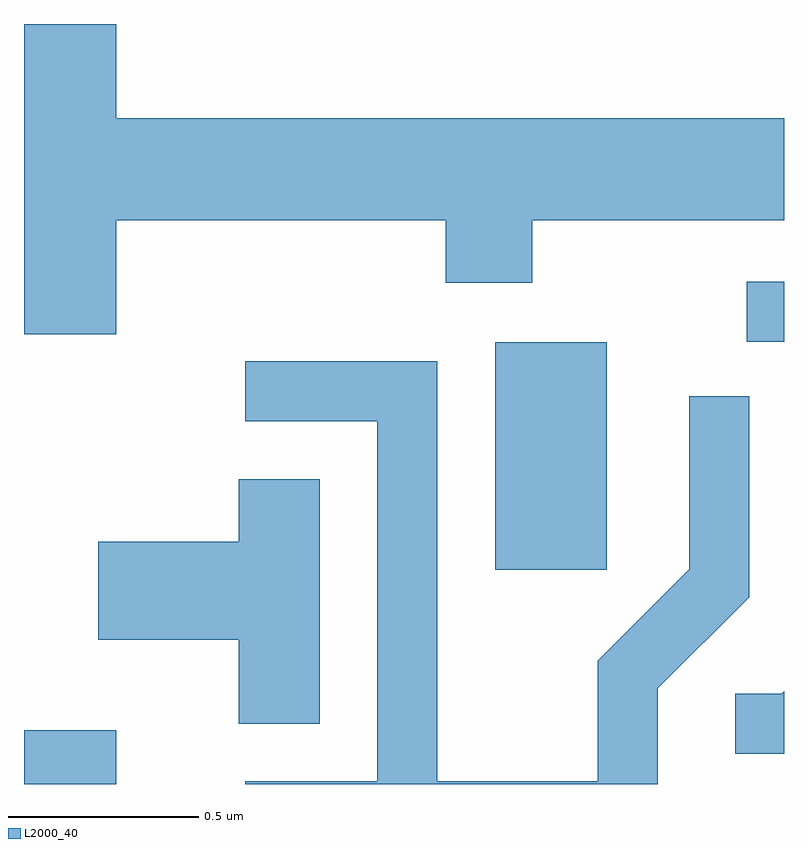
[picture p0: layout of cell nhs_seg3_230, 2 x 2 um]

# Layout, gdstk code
import gdstk
lib = gdstk.Library(unit=1e-6, precision=1e-09)
def R(c, l, rs):  # rectangles x0, y0, x1, y1
    for r in rs: c.add(gdstk.rectangle(r[:2], r[2:], *l))
def P(c, l, *ps):  # polygons
    for p in ps: c.add(gdstk.Polygon(p, *l))
L2000_40 = (2000, 40)

nhs_seg3_230 = lib.new_cell('nhs_seg3_230')
R(nhs_seg3_230, L2000_40, [(186.611,1208.892,186.854,1209.034), (187.851,1209.456,188.144,1210.054), (188.513,1210.056,188.611,1210.214)])
P(nhs_seg3_230, L2000_40, [(186.854,1210.376),(187.721,1210.376),(187.721,1210.211),(187.949,1210.211),(187.949,1210.376),(188.611,1210.376),(188.611,1210.644),(186.854,1210.644),(186.854,1210.892),(186.611,1210.892),(186.611,1210.076),(186.854,1210.076)],
  [(188.279,1209.144),(188.519,1209.384),(188.519,1209.913),(188.361,1209.913),(188.361,1209.457),(188.121,1209.217),(188.121,1208.899),(187.699,1208.899),(187.699,1210.004),(187.193,1210.004),(187.193,1209.846),(187.541,1209.846),(187.541,1208.899),(187.193,1208.899),(187.193,1208.892),(188.279,1208.892)],
  [(187.389,1209.694),(187.176,1209.694),(187.176,1209.529),(186.806,1209.529),(186.806,1209.271),(187.176,1209.271),(187.176,1209.051),(187.389,1209.051)],
  [(188.611,1209.136),(188.604,1209.129),(188.483,1209.129),(188.483,1208.971),(188.611,1208.971)])

lib.write_gds('nhs_seg3_230.gds')
